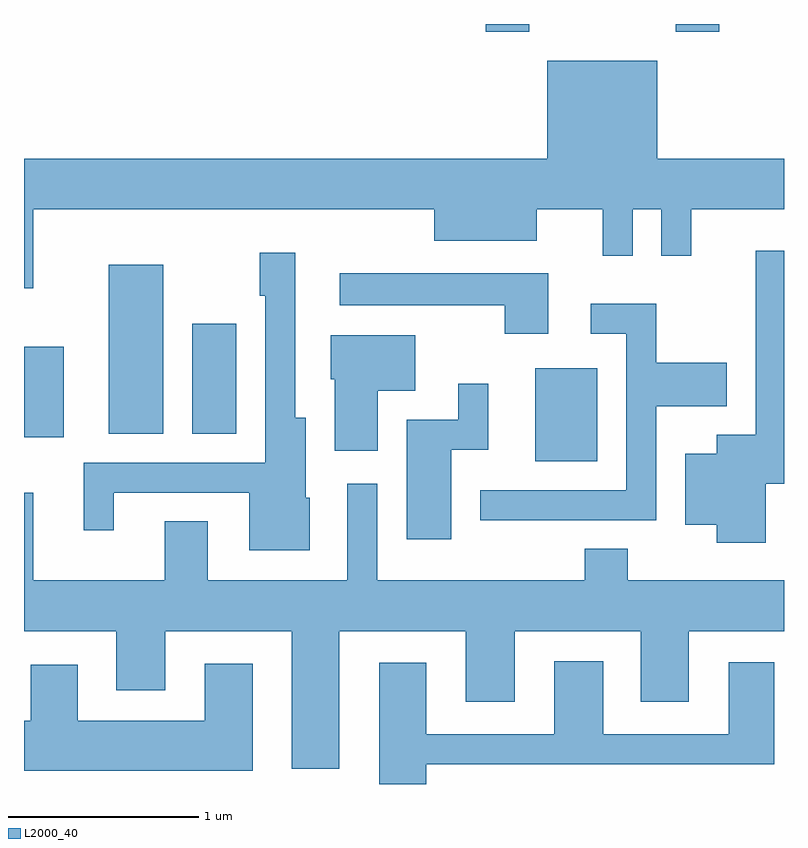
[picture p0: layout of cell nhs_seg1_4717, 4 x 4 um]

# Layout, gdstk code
import gdstk
lib = gdstk.Library(unit=1e-6, precision=1e-09)
def R(c, l, rs):  # rectangles x0, y0, x1, y1
    for r in rs: c.add(gdstk.rectangle(r[:2], r[2:], *l))
def P(c, l, *ps):  # polygons
    for p in ps: c.add(gdstk.Polygon(p, *l))
L2000_40 = (2000, 40)

nhs_seg1_4717 = lib.new_cell('nhs_seg1_4717')
R(nhs_seg1_4717, L2000_40, [(330.301,849.411,330.629,849.899), (327.611,849.536,327.819,850.014), (328.056,849.556,328.344,850.444), (328.496,849.556,328.729,850.134), (330.041,851.671,330.269,851.712), (331.041,851.671,331.269,851.712)])
P(nhs_seg1_4717, L2000_40, [(327.659,850.736),(329.771,850.736),(329.771,850.571),(330.309,850.571),(330.309,850.736),(330.656,850.736),(330.656,850.493),(330.814,850.493),(330.814,850.736),(330.966,850.736),(330.966,850.493),(331.124,850.493),(331.124,850.736),(331.611,850.736),(331.611,851.004),(330.944,851.004),(330.944,851.519),(330.366,851.519),(330.366,851.004),(327.611,851.004),(327.611,850.321),(327.659,850.321)],
  [(331.514,849.291),(331.611,849.291),(331.611,850.518),(331.461,850.518),(331.461,849.549),(331.256,849.549),(331.256,849.449),(331.091,849.449),(331.091,849.076),(331.256,849.076),(331.256,848.981),(331.514,848.981)],
  [(329.114,849.219),(329.094,849.219),(329.094,849.639),(329.039,849.639),(329.039,850.509),(328.851,850.509),(328.851,850.281),(328.881,850.281),(328.881,849.404),(327.926,849.404),(327.926,849.048),(328.084,849.048),(328.084,849.246),(328.796,849.246),(328.796,848.941),(329.114,848.941)],
  [(330.369,850.399),(329.273,850.399),(329.273,850.231),(330.141,850.231),(330.141,850.081),(330.369,850.081)],
  [(330.939,849.701),(331.309,849.701),(331.309,849.929),(330.939,849.929),(330.939,850.239),(330.593,850.239),(330.593,850.081),(330.781,850.081),(330.781,849.259),(330.013,849.259),(330.013,849.101),(330.939,849.101)],
  [(329.474,849.781),(329.669,849.781),(329.669,850.074),(329.226,850.074),(329.226,849.841),(329.246,849.841),(329.246,849.466),(329.474,849.466)],
  [(329.859,849.471),(330.054,849.471),(330.054,849.818),(329.896,849.818),(329.896,849.629),(329.626,849.629),(329.626,849.001),(329.859,849.001)],
  [(329.269,848.516),(329.936,848.516),(329.936,848.146),(330.194,848.146),(330.194,848.516),(330.856,848.516),(330.856,848.146),(331.109,848.146),(331.109,848.516),(331.611,848.516),(331.611,848.784),(330.789,848.784),(330.789,848.949),(330.561,848.949),(330.561,848.784),(329.469,848.784),(329.469,849.293),(329.311,849.293),(329.311,848.784),(328.579,848.784),(328.579,849.094),(328.351,849.094),(328.351,848.784),(327.659,848.784),(327.659,849.244),(327.611,849.244),(327.611,848.516),(328.096,848.516),(328.096,848.206),(328.354,848.206),(328.354,848.516),(329.021,848.516),(329.021,847.791),(329.269,847.791)],
  [(329.729,847.816),(331.559,847.816),(331.559,848.354),(331.321,848.354),(331.321,847.974),(330.659,847.974),(330.659,848.359),(330.401,848.359),(330.401,847.974),(329.729,847.974),(329.729,848.349),(329.481,848.349),(329.481,847.712),(329.729,847.712)],
  [(328.814,848.344),(328.561,848.344),(328.561,848.044),(327.894,848.044),(327.894,848.339),(327.646,848.339),(327.646,848.044),(327.611,848.044),(327.611,847.781),(328.814,847.781)])

lib.write_gds('nhs_seg1_4717.gds')
